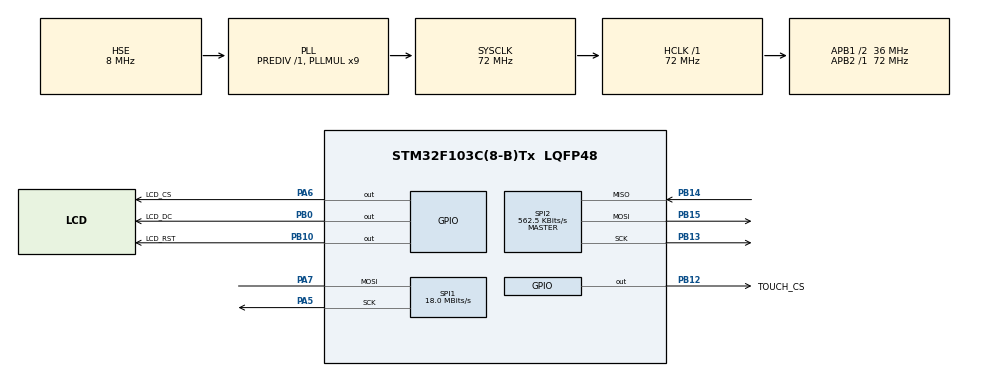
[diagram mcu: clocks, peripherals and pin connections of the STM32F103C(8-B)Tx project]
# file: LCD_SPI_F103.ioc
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Mcu.Family=STM32F1
RCC.PLLSourceVirtual=RCC_PLLSOURCE_HSE
PB10.PinState=GPIO_PIN_SET
PA7.Mode=Simplex_Bidirectional_Master
PD1-OSC_OUT.Mode=HSE-External-Oscillator
PB10.GPIO_Speed=GPIO_SPEED_FREQ_HIGH
SPI1.VirtualType=VM_MASTER
SPI2.VirtualType=VM_MASTER
PA6.GPIO_Label=LCD_CS
PB0.GPIO_Label=LCD_DC
PD0-OSC_IN.Signal=RCC_OSC_IN
RCC.APB1CLKDivider=RCC_HCLK_DIV2
PB15.Signal=SPI2_MOSI
PB13.Signal=SPI2_SCK
RCC.SYSCLKSource=RCC_SYSCLKSOURCE_PLLCLK
ProjectManager.StackSize=0x400
PD1-OSC_OUT.Signal=RCC_OSC_OUT
PB0.GPIO_Speed=GPIO_SPEED_FREQ_HIGH
PA13.Signal=SYS_JTMS-SWDIO
SPI1.CLKPolarity=SPI_POLARITY_HIGH
ProjectManager.TargetToolchain=STM32CubeIDE
PB10.GPIO_Label=LCD_RST
PB0.PinState=GPIO_PIN_SET
SPI1.Direction=SPI_DIRECTION_1LINE
RCC.HCLKFreq_Value=72000000
RCC.APB2TimFreq_Value=72000000
SPI1.CalculateBaudRate=18.0 MBits/s
RCC.USBFreq_Value=72000000
RCC.AHBFreq_Value=72000000
SPI2.BaudRatePrescaler=SPI_BAUDRATEPRESCALER_64
PD0-OSC_IN.Mode=HSE-External-Oscillator
PB10.Signal=GPIO_Output
PB14.Signal=SPI2_MISO
PA5.Signal=SPI1_SCK
board=custom
RCC.PLLMUL=RCC_PLL_MUL9
PB15.Mode=Full_Duplex_Master
PB12.GPIO_Label=TOUCH_CS
RCC.APB2Freq_Value=72000000
SPI1.Mode=SPI_MODE_MASTER
PA14.Mode=Serial_Wire
PB14.Mode=Full_Duplex_Master
SPI1.DataSize=SPI_DATASIZE_8BIT
SPI2.CalculateBaudRate=562.5 KBits/s
SPI1.FirstBit=SPI_FIRSTBIT_MSB
PA13.Mode=Serial_Wire
Mcu.Name=STM32F103C(8-B)Tx
RCC.SYSCLKFreq_VALUE=72000000
Mcu.Package=LQFP48
PA6.Signal=GPIO_Output
SPI2.Mode=SPI_MODE_MASTER
PA14.Signal=SYS_JTCK-SWCLK
ProjectManager.HeapSize=0x200
NVIC.PriorityGroup=NVIC_PRIORITYGROUP_4
RCC.APB1TimFreq_Value=72000000
SPI2.Direction=SPI_DIRECTION_2LINES
PB13.Mode=Full_Duplex_Master
PA6.GPIO_Speed=GPIO_SPEED_FREQ_HIGH
RCC.APB1Freq_Value=36000000
SPI1.BaudRatePrescaler=SPI_BAUDRATEPRESCALER_4
PB0.Signal=GPIO_Output
PB12.Signal=GPIO_Output
PA5.Mode=Simplex_Bidirectional_Master
PA7.Signal=SPI1_MOSI

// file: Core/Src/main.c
/* USER CODE BEGIN Header */
/**
  ******************************************************************************
  * @file           : main.c
  * @brief          : Main program body
  ******************************************************************************
  * @attention
  *
  * <h2><center>&copy; Copyright (c) 2020 STMicroelectronics.
  * All rights reserved.</center></h2>
  *
  * This software component is licensed by ST under BSD 3-Clause license,
  * the "License"; You may not use this file except in compliance with the
  * License. You may obtain a copy of the License at:
  *                        opensource.org/licenses/BSD-3-Clause
  *
  ******************************************************************************
  */
/* USER CODE END Header */
#include "main.h"

/* USER CODE BEGIN Includes */
//#include "lcd.h"
#include "string.h"
#include "ILI9488_SPI.h"
#include <stdio.h>
#include "TouchPanel.h"
#include "BULENTFONT.h"
#include "buton.h"
#include "geri.h"
#include "resim3.h"
//#include "Hangle.h"

/* USER CODE END Includes */

/* USER CODE BEGIN PTD */
struct bitstructure1 {
	unsigned int basildi_1 :1;
	unsigned int basildi_2 :1;
	unsigned int basildi_3 :1;
	unsigned int basildi_4 :1;
	unsigned int basildi_5 :1;
	unsigned int basildi_6 :1;
	unsigned int basildi_7 :1;
	unsigned int basildi_8 :1;
};
union data1 {
	int bytedataA;
	struct bitstructure1 bits;
} FLAG_BASILDI;
//******
struct bitstructure2 {
	unsigned int birakildi_1 :1;
	unsigned int birakildi_2 :1;
	unsigned int birakildi_3 :1;
	unsigned int birakildi_4 :1;
	unsigned int birakildi_5 :1;
	unsigned int birakildi_6 :1;
	unsigned int birakildi_7 :1;
	unsigned int birakildi_8 :1;
};
union data2 {
	int bytedataA;
	struct bitstructure2 bits;
} FLAG_BIRAKILDI;
//*************
typedef struct {
	char     *p_resim; //resmin adresi
	uint16_t resim_korx;
	uint16_t resim_kory;
	uint16_t resim_w;
	uint16_t resim_h;
	uint8_t  resim_type;//0 PUSH,1 TOGLE
	uint8_t  resim_value;
}RESIM;

#define toucharea_adeti    32
#define sayfa_adeti         4
/* USER CODE END PTD */

/* USER CODE BEGIN PD */
RESIM T_RESIM[toucharea_adeti]; // her sayfa için toucadeti/sayfaedeti

/* USER CODE END PD */

SPI_HandleTypeDef hspi1;
SPI_HandleTypeDef hspi2;

/* USER CODE BEGIN PV */
volatile uint16_t xx;
volatile uint16_t yy;
char yazi[64];
uint8_t sayfa_no=0;
uint8_t sayfa_touch_adeti=toucharea_adeti/sayfa_adeti;
volatile uint8_t son_basilan;
uint8_t sayac;
/* USER CODE END PV */

void SystemClock_Config(void);
static void MX_GPIO_Init(void);
static void MX_SPI1_Init(void);
static void MX_SPI2_Init(void);
/* USER CODE BEGIN PFP */
void SAYFA();
void TOUCH_KONTROL();
/* USER CODE END PFP */

int main(void)
{

  /* MCU Configuration--------------------------------------------------------*/

  /* Reset of all peripherals, Initializes the Flash interface and the Systick. */
  HAL_Init();

  /* Configure the system clock */
  SystemClock_Config();

  /* Initialize all configured peripherals */
  MX_GPIO_Init();
  MX_SPI1_Init();
  MX_SPI2_Init();
  /* USER CODE BEGIN 2 */
  // LCD_Init();
  ILI9488_Init();

  ILI9488_Fill_Screen(RED);
 // HAL_Delay(50);
  ILI9488_Fill_Screen(GREEN);
 // HAL_Delay(50);
  ILI9488_Fill_Screen(BLUE);
 // HAL_Delay(50);
  ILI9488_Fill_Screen(YELLOW);
  //HAL_Delay(50);
  ILI9488_Fill_Screen(WHITE);

  /* USER CODE END 2 */

  /* Infinite loop */
  /* USER CODE BEGIN WHILE */

  //Touch_Calibre();
/*
  ILI9488_LCD_RESIM(180,160,(char *)gImage_resim1,0);
*/
//*****BIRINCI SAYFA RESIMLERI
  T_RESIM[0].p_resim=(char*)gImage_buton;
  T_RESIM[0].resim_korx=20;
  T_RESIM[0].resim_kory=80;
  T_RESIM[0].resim_type=0;
  T_RESIM[0].resim_value=0;

  T_RESIM[1].p_resim=(char*)gImage_buton;
  T_RESIM[1].resim_korx=20;
  T_RESIM[1].resim_kory=180;
  T_RESIM[1].resim_type=0;
  T_RESIM[1].resim_value=1;

  T_RESIM[2].p_resim=(char*)gImage_buton;
  T_RESIM[2].resim_korx=310;
  T_RESIM[2].resim_kory=80;
  T_RESIM[2].resim_type=1;
  T_RESIM[2].resim_value=0;

  T_RESIM[3].p_resim=(char*)gImage_buton;
  T_RESIM[3].resim_korx=310;
  T_RESIM[3].resim_kory=180;
  T_RESIM[3].resim_type=1;
  T_RESIM[3].resim_value=1;

  T_RESIM[4].p_resim=(char*)gImage_resim3;
  T_RESIM[4].resim_korx=190;
  T_RESIM[4].resim_kory=130;
  T_RESIM[4].resim_type=0;
  T_RESIM[4].resim_value=0;

  T_RESIM[7].p_resim=(char*)gImage_geri;
  T_RESIM[7].resim_korx=420;
  T_RESIM[7].resim_kory=265;
  T_RESIM[7].resim_type=0;
  T_RESIM[7].resim_value=0;
//****IKINCI SAYFA RESIMLERI
  T_RESIM[8].p_resim=(char*)gImage_resim3;
  T_RESIM[8].resim_korx=10;
  T_RESIM[8].resim_kory=250;
  T_RESIM[8].resim_type=0;
  T_RESIM[8].resim_value=0;

  T_RESIM[9].p_resim=(char*)gImage_buton;
  T_RESIM[9].resim_korx=20;
  T_RESIM[9].resim_kory=100;
  T_RESIM[9].resim_type=0;
  T_RESIM[9].resim_value=0;

  T_RESIM[10].p_resim=(char*)gImage_buton;
  T_RESIM[10].resim_korx=310;
  T_RESIM[10].resim_kory=100;
  T_RESIM[10].resim_type=1;
  T_RESIM[10].resim_value=0;

  T_RESIM[15].p_resim=(char*)gImage_geri;
  T_RESIM[15].resim_korx=420;
  T_RESIM[15].resim_kory=265;
  T_RESIM[15].resim_type=0;
  T_RESIM[15].resim_value=0;

ILI9488_Set_Rotation(0);
sayfa_no=0;
SAYFA();
HAL_Delay(2000);

ILI9488_Set_Rotation(1);
sayfa_no=0;
SAYFA();
HAL_Delay(2000);

ILI9488_Set_Rotation(2);
sayfa_no=0;
SAYFA();
HAL_Delay(2000);

ILI9488_Set_Rotation(3);
sayfa_no=0;
SAYFA();
HAL_Delay(2000);

ILI9488_Set_Rotation(1);
sayfa_no=0;
SAYFA();
HAL_Delay(2000);

sayfa_no=1;
SAYFA();
HAL_Delay(2000);
sayfa_no=0;
SAYFA();
  while (1)
  {
//	  ILI9488_Fill_Screen(WHITE);

	 if(GetTouchStatus(0) !=0){
		 TOUCH_KONTROL();
		 /*
		 sprintf(yazi,"%d %d  BULENT ASLANTURK\n",xx,yy);
		 ILI9488_LCD_Font(5,5,yazi ,(char *) Times_New_Roman20x24,WHITE, BLUE);
		 HAL_Delay(200);
		 if(sayfa_no==1) {SAYFA1();sayfa_no=2;}
		 else if(sayfa_no==2) {SAYFA2();sayfa_no=1;}
		 */
	 }
	 else{
		 if(son_basilan !=0){
			 if(T_RESIM[son_basilan-1].resim_type==0){  //eger buton tipi puspul ise tus bırakıldımı esik haline dönüyor
				 T_RESIM[son_basilan-1].resim_value=!T_RESIM[son_basilan-1].resim_value;
				 ILI9488_LCD_RESIM(son_basilan-1,(char *)T_RESIM[son_basilan-1].p_resim,T_RESIM[son_basilan-1].resim_value);
			 }
			 son_basilan=0;
			 sayac=0;
		 }

	 }
	 HAL_Delay(100);

/*
	 ILI9488_LCD_Font(0, 10, "SD KART BULUNDU DOSYALAR KAYDEDILIYOR\n",(char *)Segoe_Script21x21,0xffff, 0xf800);
	 HAL_Delay(200);
	 ILI9488_LCD_Font(0, 30, "BULENT ASLANTURK...\n", (char *)Times_New_Roman19x23,GREEN, BLUE);
	 HAL_Delay(200);
	 ILI9488_LCD_RESIM(180,160,(char *)gImage_resim1);
	 HAL_Delay(200);
	 uint8_t i;
	 for (i = 0; i < 100; ++i) {
		 char yazi[4];
		 sprintf(yazi,"%d\n",i);
		 ILI9488_LCD_Font(50,150,yazi ,(char *) Segoe_Script21x21,GREEN, BLUE);
		HAL_Delay(200);
	}
	 ILI9488_Fill_Screen(GREEN);
*/
    /* USER CODE END WHILE */

  }
}

void SystemClock_Config(void)
{
  RCC_OscInitTypeDef RCC_OscInitStruct = {0};
  RCC_ClkInitTypeDef RCC_ClkInitStruct = {0};

  /** Initializes the RCC Oscillators according to the specified parameters
  * in the RCC_OscInitTypeDef structure.
  */
  RCC_OscInitStruct.OscillatorType = RCC_OSCILLATORTYPE_HSE;
  RCC_OscInitStruct.HSEState = RCC_HSE_ON;
  RCC_OscInitStruct.HSEPredivValue = RCC_HSE_PREDIV_DIV1;
  RCC_OscInitStruct.HSIState = RCC_HSI_ON;
  RCC_OscInitStruct.PLL.PLLState = RCC_PLL_ON;
  RCC_OscInitStruct.PLL.PLLSource = RCC_PLLSOURCE_HSE;
  RCC_OscInitStruct.PLL.PLLMUL = RCC_PLL_MUL9;
  if (HAL_RCC_OscConfig(&RCC_OscInitStruct) != HAL_OK)
  {
    Error_Handler();
  }
  /** Initializes the CPU, AHB and APB buses clocks
  */
  RCC_ClkInitStruct.ClockType = RCC_CLOCKTYPE_HCLK|RCC_CLOCKTYPE_SYSCLK
                              |RCC_CLOCKTYPE_PCLK1|RCC_CLOCKTYPE_PCLK2;
  RCC_ClkInitStruct.SYSCLKSource = RCC_SYSCLKSOURCE_PLLCLK;
  RCC_ClkInitStruct.AHBCLKDivider = RCC_SYSCLK_DIV1;
  RCC_ClkInitStruct.APB1CLKDivider = RCC_HCLK_DIV2;
  RCC_ClkInitStruct.APB2CLKDivider = RCC_HCLK_DIV1;

  if (HAL_RCC_ClockConfig(&RCC_ClkInitStruct, FLASH_LATENCY_2) != HAL_OK)
  {
    Error_Handler();
  }
}

static void MX_SPI1_Init(void)
{

  /* SPI1 parameter configuration*/
  hspi1.Instance = SPI1;
  hspi1.Init.Mode = SPI_MODE_MASTER;
  hspi1.Init.Direction = SPI_DIRECTION_1LINE;
  hspi1.Init.DataSize = SPI_DATASIZE_8BIT;
  hspi1.Init.CLKPolarity = SPI_POLARITY_HIGH;
  hspi1.Init.CLKPhase = SPI_PHASE_1EDGE;
  hspi1.Init.NSS = SPI_NSS_SOFT;
  hspi1.Init.BaudRatePrescaler = SPI_BAUDRATEPRESCALER_4;
  hspi1.Init.FirstBit = SPI_FIRSTBIT_MSB;
  hspi1.Init.TIMode = SPI_TIMODE_DISABLE;
  hspi1.Init.CRCCalculation = SPI_CRCCALCULATION_DISABLE;
  hspi1.Init.CRCPolynomial = 10;
  if (HAL_SPI_Init(&hspi1) != HAL_OK)
  {
    Error_Handler();
  }

}

static void MX_SPI2_Init(void)
{

  /* SPI2 parameter configuration*/
  hspi2.Instance = SPI2;
  hspi2.Init.Mode = SPI_MODE_MASTER;
  hspi2.Init.Direction = SPI_DIRECTION_2LINES;
  hspi2.Init.DataSize = SPI_DATASIZE_8BIT;
  hspi2.Init.CLKPolarity = SPI_POLARITY_LOW;
  hspi2.Init.CLKPhase = SPI_PHASE_1EDGE;
  hspi2.Init.NSS = SPI_NSS_SOFT;
  hspi2.Init.BaudRatePrescaler = SPI_BAUDRATEPRESCALER_64;
  hspi2.Init.FirstBit = SPI_FIRSTBIT_MSB;
  hspi2.Init.TIMode = SPI_TIMODE_DISABLE;
  hspi2.Init.CRCCalculation = SPI_CRCCALCULATION_DISABLE;
  hspi2.Init.CRCPolynomial = 10;
  if (HAL_SPI_Init(&hspi2) != HAL_OK)
  {
    Error_Handler();
  }

}

static void MX_GPIO_Init(void)
{
  GPIO_InitTypeDef GPIO_InitStruct = {0};

  /* GPIO Ports Clock Enable */
  __HAL_RCC_GPIOD_CLK_ENABLE();
  __HAL_RCC_GPIOA_CLK_ENABLE();
  __HAL_RCC_GPIOB_CLK_ENABLE();

  /*Configure GPIO pin Output Level */
  HAL_GPIO_WritePin(LCD_CS_GPIO_Port, LCD_CS_Pin, GPIO_PIN_RESET);

  /*Configure GPIO pin Output Level */
  HAL_GPIO_WritePin(GPIOB, LCD_DC_Pin|LCD_RST_Pin, GPIO_PIN_SET);

  /*Configure GPIO pin Output Level */
  HAL_GPIO_WritePin(TOUCH_CS_GPIO_Port, TOUCH_CS_Pin, GPIO_PIN_RESET);

  /*Configure GPIO pin : LCD_CS_Pin */
  GPIO_InitStruct.Pin = LCD_CS_Pin;
  GPIO_InitStruct.Mode = GPIO_MODE_OUTPUT_PP;
  GPIO_InitStruct.Pull = GPIO_NOPULL;
  GPIO_InitStruct.Speed = GPIO_SPEED_FREQ_HIGH;
  HAL_GPIO_Init(LCD_CS_GPIO_Port, &GPIO_InitStruct);

  /*Configure GPIO pins : LCD_DC_Pin LCD_RST_Pin */
  GPIO_InitStruct.Pin = LCD_DC_Pin|LCD_RST_Pin;
  GPIO_InitStruct.Mode = GPIO_MODE_OUTPUT_PP;
  GPIO_InitStruct.Pull = GPIO_NOPULL;
  GPIO_InitStruct.Speed = GPIO_SPEED_FREQ_HIGH;
  HAL_GPIO_Init(GPIOB, &GPIO_InitStruct);

  /*Configure GPIO pin : TOUCH_CS_Pin */
  GPIO_InitStruct.Pin = TOUCH_CS_Pin;
  GPIO_InitStruct.Mode = GPIO_MODE_OUTPUT_PP;
  GPIO_InitStruct.Pull = GPIO_NOPULL;
  GPIO_InitStruct.Speed = GPIO_SPEED_FREQ_LOW;
  HAL_GPIO_Init(TOUCH_CS_GPIO_Port, &GPIO_InitStruct);

}

/* USER CODE BEGIN 4 */
void TOUCH_KONTROL(){
	uint8_t ts=sayfa_no*sayfa_touch_adeti;
	uint8_t i;
	for (i = ts; i < ts+sayfa_touch_adeti; i++) {
		if(xx > T_RESIM[i].resim_korx && yy > T_RESIM[i].resim_kory && xx < T_RESIM[i].resim_korx+T_RESIM[i].resim_w && yy < T_RESIM[i].resim_kory+T_RESIM[i].resim_h){
			sprintf(yazi,"sayfa no=%d resim no=%d type=%d value=%d sayac=%d \n",sayfa_no,i,T_RESIM[i].resim_type,T_RESIM[i].resim_value,sayac);
			ILI9488_LCD_Font(5,5,yazi ,(char *) Times_New_Roman20x24,WHITE, BLUE);
	//		HAL_Delay(500);
			//********************
			if(son_basilan==0){
				T_RESIM[i].resim_value=!T_RESIM[i].resim_value; //resmin tersi gösteriliyor
			    ILI9488_LCD_RESIM(i,(char *)T_RESIM[i].p_resim,T_RESIM[i].resim_value);
			}
			sayac++;
			son_basilan=i+1;
			switch (i) {
				case 0:

					break;
				case 1:

				   break;
				case 2:

					break;
				case 3:

				   break;
				case 7: //sayfa 0 geri komutu
					sayfa_no=1;
					SAYFA();
					break;
				//ikinci sayfa komutları
				case 8:

				   break;
				case 9:

					break;
				case 10:

				   break;
				case 11:

					break;
				case 15:  //sayfa 1 geri komutu
					sayfa_no=0;
					SAYFA();
				   break;
				default:
					break;
			}

		}
	}

}
void SAYFA(){
	ILI9488_Fill_Screen(WHITE);
	uint8_t ts=sayfa_no*sayfa_touch_adeti;
	uint8_t i;
	for (i = ts; i < ts+sayfa_touch_adeti; i++) {
		if((char *)T_RESIM[i].p_resim !=0){ //resim boş degilse
			ILI9488_LCD_RESIM(i,(char *)T_RESIM[i].p_resim,T_RESIM[i].resim_value);
		}
		sprintf(yazi,"SAYFA NO=%d \n",sayfa_no);
		ILI9488_LCD_Font(180,40,yazi ,(char *) Helvetica21x21,WHITE, GREEN);
		sprintf(yazi,"BULENT ASLANTURK\n");
		ILI9488_LCD_Font(140,290,yazi ,(char *) Helvetica21x21,WHITE, RED);
	}
//	 ILI9488_LCD_RESIM(0,(char *)gImage_buton,0);
}
/* USER CODE END 4 */

void Error_Handler(void)
{
}

/************************ (C) COPYRIGHT STMicroelectronics *****END OF FILE****/
